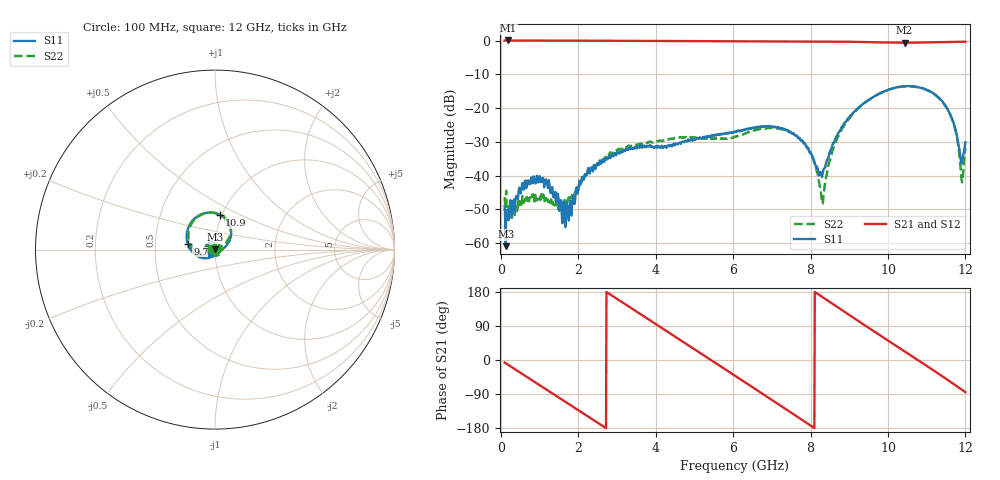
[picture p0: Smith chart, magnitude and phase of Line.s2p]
!Agilent Technologies,N5227A,US51270349,A.09.80.20
!Agilent N5227A: A.09.80.20
!Date: Saturday, September 07, 2024 04:36:31
!Correction: S11(Full 2 Port(1,2))
!S21(Full 2 Port(1,2))
!S12(Full 2 Port(1,2))
!S22(Full 2 Port(1,2))
!S2P File: Measurements: S11, S21, S12, S22:
# Hz S  RI  R 50
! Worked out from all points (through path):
!   1191 points, 100 MHz to 12 GHz, reference 50 ohm
!   highest |S21| = 0.02 dB at 200 MHz (marker M1); lowest = -0.6 dB at 10.43 GHz (marker M2)
!   group delay of S21, straight-line fit = 186 ps
!   lowest |S11| = -60.9 dB at 130 MHz (marker M3), VSWR 1.00, Z = 50 + j0.0876 ohm
!   |S11| at or under -10 dB: start of sweep to end of sweep
!   |S22| runs from -52.4 to -13.6 dB; largest |S21 - S12| = 0.0031
!   S11 on the Smith chart (normalised r, x): 100 MHz: 0.99, -0.00; 9.71 GHz: 0.73, +0.05; 10.9 GHz: 0.97, +0.39; 12 GHz: 0.95, -0.04
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1e8  -0.00283 -0.00204  0.9925 -0.1171  0.9955 -0.1179  -0.00386 -0.00285
1.3e8  -0.000202 0.000877  0.9888 -0.1492  0.9905 -0.1497  -0.00298 0.00131
2e8  0.00189 0.00108  0.9751 -0.2311  0.976 -0.2318  -0.00294 0.000268
6.7e8  0.00663 0.00217  0.7139 -0.6989  0.7152 -0.6995  0.0037 0.00339
1.18e9  0.0066 -0.00466  0.2072 -0.9758  0.2073 -0.9771  0.00432 -5.09e-05
1.71e9  -0.00279 -0.00236  -0.3898 -0.9167  -0.3906 -0.918  -0.000721 -0.00382
2.09e9  -0.00524 0.00711  -0.7417 -0.6639  -0.7428 -0.6643  -0.00818 0.00128
3.01e9  0.017 0.0147  -0.9373 0.3255  -0.9384 0.326  -0.00397 0.0231
4.07e9  0.0199 -0.0187  -0.00772 0.9868  -0.00724 0.9874  0.0202 0.0255
5.14e9  -0.0219 -0.0295  0.9253 0.3245  0.9264 0.3242  0.0351 -0.00674
6.05e9  -0.0438 -0.00954  0.7305 -0.647  0.7311 -0.648  -0.0132 -0.0351
6.99e9  -0.0459 0.0253  -0.2444 -0.9392  -0.245 -0.9403  -0.0462 0.0214
8.04e9  0.00846 0.0174  -0.9665 -0.0748  -0.9675 -0.0747  0.00588 0.0185
8.31e9  0.00941 -0.00437  -0.9386 0.2328  -0.9399 0.2336  0.00356 -0.00154
8.77e9  -0.0222 -0.0419  -0.6766 0.6847  -0.6773 0.686  -0.031 -0.0313
9.71e9  -0.1526 0.0338  0.3094 0.8885  0.3105 0.8887  -0.1461 0.0548
1.002e10  -0.1539 0.1078  0.6001 0.7151  0.6008 0.7157  -0.141 0.1233
1.043e10  -0.0913 0.1893  0.8563 0.3582  0.8578 0.3587  -0.0752 0.1945
1.09e10  0.026 0.1941  0.9223 -0.141  0.9229 -0.1413  0.036 0.1907
1.16e10  0.074 0.0375  0.5258 -0.7943  0.5257 -0.7955  0.0667 0.045
1.19e10  0.00666 -0.0135  0.2042 -0.9371  0.2036 -0.9383  0.00263 0.00835
1.2e10  -0.0233 -0.0205  0.0856 -0.9561  0.0852 -0.957  -0.0245 0.00741
